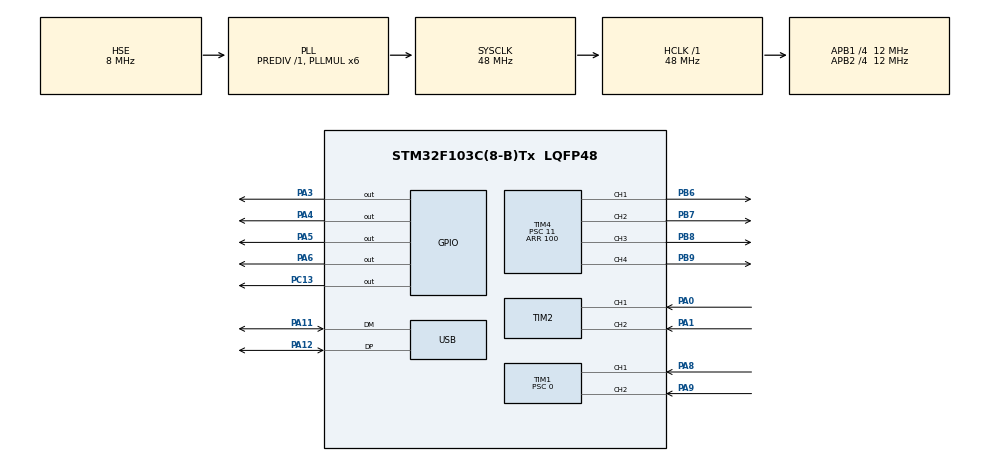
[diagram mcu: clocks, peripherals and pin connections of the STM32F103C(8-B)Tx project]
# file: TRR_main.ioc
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Mcu.Family=STM32F1
Mcu.Name=STM32F103C(8-B)Tx
Mcu.Package=LQFP48
NVIC.PriorityGroup=NVIC_PRIORITYGROUP_4
NVIC.TIM3_IRQn=true\:0\:0\:true\:false\:true\:true\:true\:true
NVIC.USB_LP_CAN1_RX0_IRQn=true\:0\:0\:false\:false\:true\:false\:true\:true
PA0-WKUP.Signal=S_TIM2_CH1_ETR
PA1.Signal=S_TIM2_CH2
PA11.Mode=Device
PA11.Signal=USB_DM
PA12.Mode=Device
PA12.Signal=USB_DP
PA13.Mode=Serial_Wire
PA13.Signal=SYS_JTMS-SWDIO
PA14.Mode=Serial_Wire
PA14.Signal=SYS_JTCK-SWCLK
PA3.Signal=GPIO_Output
PA4.Signal=GPIO_Output
PA5.Signal=GPIO_Output
PA6.Signal=GPIO_Output
PA8.GPIO_PuPd=GPIO_PULLUP
PA8.Signal=S_TIM1_CH1
PA9.GPIO_PuPd=GPIO_PULLUP
PA9.Signal=S_TIM1_CH2
PB6.Signal=S_TIM4_CH1
PB7.Signal=S_TIM4_CH2
PB8.Signal=S_TIM4_CH3
PB9.Signal=S_TIM4_CH4
PC13-TAMPER-RTC.Signal=GPIO_Output
PD0-OSC_IN.Mode=HSE-External-Oscillator
PD0-OSC_IN.Signal=RCC_OSC_IN
PD1-OSC_OUT.Mode=HSE-External-Oscillator
PD1-OSC_OUT.Signal=RCC_OSC_OUT
ProjectManager.HeapSize=0x200
ProjectManager.StackSize=0x400
ProjectManager.TargetToolchain=MDK-ARM V5.32
RCC.AHBFreq_Value=48000000
RCC.APB1CLKDivider=RCC_HCLK_DIV4
RCC.APB1Freq_Value=12000000
RCC.APB1TimFreq_Value=24000000
RCC.APB2CLKDivider=RCC_HCLK_DIV4
RCC.APB2Freq_Value=12000000
RCC.APB2TimFreq_Value=24000000
RCC.HCLKFreq_Value=48000000
RCC.PLLMUL=RCC_PLL_MUL6
RCC.SYSCLKFreq_VALUE=48000000
RCC.SYSCLKSource=RCC_SYSCLKSOURCE_PLLCLK
RCC.USBFreq_Value=48000000
SH.S_TIM1_CH1.0=TIM1_CH1,Encoder_Interface
SH.S_TIM1_CH2.0=TIM1_CH2,Encoder_Interface
SH.S_TIM2_CH1_ETR.0=TIM2_CH1,Encoder_Interface
SH.S_TIM2_CH2.0=TIM2_CH2,Encoder_Interface
SH.S_TIM4_CH1.0=TIM4_CH1,PWM Generation1 CH1
SH.S_TIM4_CH2.0=TIM4_CH2,PWM Generation2 CH2
SH.S_TIM4_CH3.0=TIM4_CH3,PWM Generation3 CH3
SH.S_TIM4_CH4.0=TIM4_CH4,PWM Generation4 CH4
TIM1.EncoderMode=TIM_ENCODERMODE_TI12
TIM1.Period=65535
TIM1.Prescaler=0
TIM2.EncoderMode=TIM_ENCODERMODE_TI12
TIM3.Period=4
TIM3.Prescaler=23999
TIM4.Channel-PWM\ Generation1\ CH1=TIM_CHANNEL_1
TIM4.Channel-PWM\ Generation2\ CH2=TIM_CHANNEL_2
TIM4.Channel-PWM\ Generation3\ CH3=TIM_CHANNEL_3
TIM4.Channel-PWM\ Generation4\ CH4=TIM_CHANNEL_4
TIM4.Period=100
TIM4.Prescaler=11
USB_DEVICE.CLASS_NAME_FS=CDC
USB_DEVICE.VirtualMode=Cdc
USB_DEVICE.VirtualModeFS=Cdc_FS
VP_TIM3_VS_ClockSourceINT.Mode=Internal
VP_USB_DEVICE_VS_USB_DEVICE_CDC_FS.Mode=CDC_FS
board=custom

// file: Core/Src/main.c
/* USER CODE BEGIN Header */
/**
  ******************************************************************************
  * @file           : main.c
  * @brief          : Main program body
  ******************************************************************************
  * @attention
  *
  * Copyright (c) 2023 STMicroelectronics.
  * All rights reserved.
  *
  * This software is licensed under terms that can be found in the LICENSE file
  * in the root directory of this software component.
  * If no LICENSE file comes with this software, it is provided AS-IS.
  *
  ******************************************************************************
  */

	/* 	Author: Chi */
	/* 	Right motor:
				ChannelA 	- PA0
				ChannelB 	- PA1
				R_EN			- PA5
				L_EN			- PA6
				R_PWM			-	PB9
				L_PWM			- PB8
			Right motor:
				ChannelA 	- PA8
				ChannelB 	- PA9
				R_EN			- PA4
				L_EN			- PA3
				R_PWM			-	PB6
				L_PWM			- PB7
	*/

/* USER CODE END Header */
#include "main.h"
#include "usb_device.h"

/* USER CODE BEGIN Includes */
#include "usbd_cdc_if.h"
/* USER CODE END Includes */

/* USER CODE BEGIN PD */
#define UPDATE_PERIOD			0.005		/* Chu ki cap nhat: 5ms = ngat timer 4 */
#define PULSES_IN_ROUND		249.6		/* So xung tren 1 vong cua dong co = 13 xung x ti so truyen 19.2 */
/* USER CODE END PD */

TIM_HandleTypeDef htim1;
TIM_HandleTypeDef htim2;
TIM_HandleTypeDef htim3;
TIM_HandleTypeDef htim4;

/* USER CODE BEGIN PV */

/* Parameter of USB USB receive */
uint8_t 	buffer[64];
uint8_t		RunSystem 				= 0;						/* ON/OFF all system */
int16_t		DesiredRightSpeed  	= 0;					/* Van toc mong muon banh trai (rpm) */
int16_t		DesiredLeftSpeed 	= 0;						/* Van toc mong muon banh phai (rpm) */
float			DesiredRightVel  	= 0;						/* Van toc mong muon banh trai (rad/s) */
float			DesiredLeftVel  	= 0;						/* Van toc mong muon banh phai (rad/s) */
uint8_t		EnablePickup 			= 0;						/* ON/OFF pickup system */

int16_t pwmL;
int16_t pwmR;

/* Parameter of PIController */
float 		Kp 							= 1.609746269;				/* Ti le */
float 		Ki 							= 29.85074627;				/* Tich phan */
float 		Kd 							= 0.0;								/* Vi phan */
float			Kb 							= 18.54375863;				/* Dung cho Anti-windup */

int32_t 	UHiLim 					= 100;								/* Gioi han tren pwm */
int32_t 	ULoLim 					= -100;									/* Gioi han duoi pwm */

/* Parameter of HAL_TIM_PeriodElapsedCallback */
int16_t 	VelCntL     		= 0;			/* Bien dem encoder => tinh van toc */
float 		CurrVelL 				= 0;	 		/* Van toc hien tai (Rad/s) */
int16_t 	CurrSpeedL	 			= 0;	 		/* Van toc hien tai (RPM) */

int16_t 	VelCntR      		= 0;			/* Bien dem encoder => tinh van toc */
float 		CurrVelR 				= 0;	 		/* Van toc hien tai (Rad/s) */
int16_t 	CurrSpeedR	 			= 0;	 		/* Van toc hien tai (RPM) */

uint16_t 	tick						= 0;			/* Dung de dem cho timer 5 */

/* USER CODE END PV */

void SystemClock_Config(void);
static void MX_GPIO_Init(void);
static void MX_TIM1_Init(void);
static void MX_TIM2_Init(void);
static void MX_TIM3_Init(void);
static void MX_TIM4_Init(void);

/* USER CODE BEGIN 0 */

/* ======================================================================================= USB printf ======================================================================================= */
struct __FILE
{
  int handle;
  /* Whatever you require here. If the only file you are using is */
  /* standard output using printf() for debugging, no file handling */
  /* is required. */
};
/* FILE is typedef'd in stdio.h. */
FILE __stdout;
int fputc(int ch, FILE *f)
{
    while(!(CDC_Transmit_FS((uint8_t*)&ch, 1) == USBD_OK))
        ;
    return ch;
}
/* ======================================================================================= End USB printf ======================================================================================= */

/* ================================================================================ PI Controller +(Anti-windup) ================================================================================ */
int32_t PIControllerL(float desired_val, float real_val, float gain, float Ki, float Kb, int uHiLim, int uLoLim)
{
		/* Controller values */
		static float err_reset;
		static float uI_p;
		float err, uP, uI;
		int uOut;

		/* Algorithm */
		err = (desired_val - real_val);
			/* Proportional */
		uP = gain * err;
			/* Integral (with Anti-windup) */
		uI = uI_p + (Ki * UPDATE_PERIOD *err) + Kb * UPDATE_PERIOD * err_reset;
			/* Integral part */
		uI_p = uI;
			/* Output control */
		uOut = (int)(uP + uI);
			/* Output saturation */
		if(uOut >= uHiLim)
		{
			err_reset = uHiLim - uOut;
			uOut = uHiLim;
		}
		else if(uOut <= uLoLim)
		{
			err_reset = uLoLim - uOut;
			uOut = uLoLim;
		}
		return uOut;
}

int32_t PIControllerR(float desired_val, float real_val, float gain, float Ki, float Kb, int uHiLim, int uLoLim)
{
		/* Controller values */
		static float err_reset;
		static float uI_p;
		float err, uP, uI;
		int uOut;

		/* Algorithm */
		err = (desired_val - real_val);
			/* Proportional */
		uP = gain * err;
			/* Integral (with Anti-windup) */
		uI = uI_p + (Ki * UPDATE_PERIOD *err) + Kb * UPDATE_PERIOD * err_reset;
			/* Integral part */
		uI_p = uI;
			/* Output control */
		uOut = (int)(uP + uI);
			/* Output saturation */
		if(uOut >= uHiLim)
		{
			err_reset = uHiLim - uOut;
			uOut = uHiLim;
		}
		else if(uOut <= uLoLim)
		{
			err_reset = uLoLim - uOut;
			uOut = uLoLim;
		}
		return uOut;
}
/* ============================================================================== End PI Controller +(Anti-windup) ============================================================================== */

/* ================================================================================ Motor Control ================================================================================ */
void MotorLeftRot(int32_t pwmSet)
{
	HAL_GPIO_WritePin(GPIOA, GPIO_PIN_3, 1);
	HAL_GPIO_WritePin(GPIOA, GPIO_PIN_4, 1);
	if (pwmSet > 0) {
		__HAL_TIM_SetCompare(&htim4, TIM_CHANNEL_1, pwmSet);
		__HAL_TIM_SetCompare(&htim4, TIM_CHANNEL_2, 0);
	}
	else if (pwmSet < 0) {
		__HAL_TIM_SetCompare(&htim4, TIM_CHANNEL_1,0);
		__HAL_TIM_SetCompare(&htim4, TIM_CHANNEL_2, -pwmSet);
	}
	else{
		HAL_GPIO_WritePin(GPIOA, GPIO_PIN_3, 0);
		HAL_GPIO_WritePin(GPIOA, GPIO_PIN_4, 0);
	}
}
void MotorRightRot(int32_t pwmSet)
{
	HAL_GPIO_WritePin(GPIOA, GPIO_PIN_5, 1);
	HAL_GPIO_WritePin(GPIOA, GPIO_PIN_6, 1);
	if (pwmSet > 0) {
		__HAL_TIM_SetCompare(&htim4, TIM_CHANNEL_3, pwmSet);
		__HAL_TIM_SetCompare(&htim4, TIM_CHANNEL_4, 0);
	}
	else if (pwmSet < 0) {
		__HAL_TIM_SetCompare(&htim4, TIM_CHANNEL_3,0);
		__HAL_TIM_SetCompare(&htim4, TIM_CHANNEL_4, -pwmSet);
	}
	else{
		HAL_GPIO_WritePin(GPIOA, GPIO_PIN_5, 0);
		HAL_GPIO_WritePin(GPIOA, GPIO_PIN_6, 0);
	}
}
/* ============================================================================== End Motor Control ============================================================================== */

/* USER CODE END 0 */

int main(void)
{

  /* MCU Configuration--------------------------------------------------------*/

  /* Reset of all peripherals, Initializes the Flash interface and the Systick. */
	HAL_Init();

  /* Configure the system clock */
  SystemClock_Config();

  /* Initialize all configured peripherals */
  MX_GPIO_Init();
  MX_TIM1_Init();
  MX_TIM2_Init();
  MX_TIM3_Init();
  MX_TIM4_Init();
  MX_USB_DEVICE_Init();
  /* USER CODE BEGIN 2 */
	HAL_TIM_PWM_Start(&htim4, TIM_CHANNEL_1);	// start  timer 1
	HAL_TIM_PWM_Start(&htim4, TIM_CHANNEL_2);	// start 	timer 1
	HAL_TIM_PWM_Start(&htim4, TIM_CHANNEL_3);	// start  timer 1
	HAL_TIM_PWM_Start(&htim4, TIM_CHANNEL_4);	// start 	timer 1
	HAL_TIM_Base_Start_IT(&htim3);						// start  timer 3
	HAL_TIM_Encoder_Start(&htim1, TIM_CHANNEL_ALL); // start encode mode
	HAL_TIM_Encoder_Start(&htim2, TIM_CHANNEL_ALL); // start encode mode
  /* USER CODE END 2 */

  /* Infinite loop */
  while (1)
  {

  }
}

void SystemClock_Config(void)
{
  RCC_OscInitTypeDef RCC_OscInitStruct = {0};
  RCC_ClkInitTypeDef RCC_ClkInitStruct = {0};
  RCC_PeriphCLKInitTypeDef PeriphClkInit = {0};

  /** Initializes the RCC Oscillators according to the specified parameters
  * in the RCC_OscInitTypeDef structure.
  */
  RCC_OscInitStruct.OscillatorType = RCC_OSCILLATORTYPE_HSE;
  RCC_OscInitStruct.HSEState = RCC_HSE_ON;
  RCC_OscInitStruct.HSEPredivValue = RCC_HSE_PREDIV_DIV1;
  RCC_OscInitStruct.HSIState = RCC_HSI_ON;
  RCC_OscInitStruct.PLL.PLLState = RCC_PLL_ON;
  RCC_OscInitStruct.PLL.PLLSource = RCC_PLLSOURCE_HSE;
  RCC_OscInitStruct.PLL.PLLMUL = RCC_PLL_MUL6;
  if (HAL_RCC_OscConfig(&RCC_OscInitStruct) != HAL_OK)
  {
    Error_Handler();
  }

  /** Initializes the CPU, AHB and APB buses clocks
  */
  RCC_ClkInitStruct.ClockType = RCC_CLOCKTYPE_HCLK|RCC_CLOCKTYPE_SYSCLK
                              |RCC_CLOCKTYPE_PCLK1|RCC_CLOCKTYPE_PCLK2;
  RCC_ClkInitStruct.SYSCLKSource = RCC_SYSCLKSOURCE_PLLCLK;
  RCC_ClkInitStruct.AHBCLKDivider = RCC_SYSCLK_DIV1;
  RCC_ClkInitStruct.APB1CLKDivider = RCC_HCLK_DIV4;
  RCC_ClkInitStruct.APB2CLKDivider = RCC_HCLK_DIV4;

  if (HAL_RCC_ClockConfig(&RCC_ClkInitStruct, FLASH_LATENCY_1) != HAL_OK)
  {
    Error_Handler();
  }
  PeriphClkInit.PeriphClockSelection = RCC_PERIPHCLK_USB;
  PeriphClkInit.UsbClockSelection = RCC_USBCLKSOURCE_PLL;
  if (HAL_RCCEx_PeriphCLKConfig(&PeriphClkInit) != HAL_OK)
  {
    Error_Handler();
  }
}

static void MX_TIM1_Init(void)
{

  TIM_Encoder_InitTypeDef sConfig = {0};
  TIM_MasterConfigTypeDef sMasterConfig = {0};

  htim1.Instance = TIM1;
  htim1.Init.Prescaler = 0;
  htim1.Init.CounterMode = TIM_COUNTERMODE_UP;
  htim1.Init.Period = 65535;
  htim1.Init.ClockDivision = TIM_CLOCKDIVISION_DIV1;
  htim1.Init.RepetitionCounter = 0;
  htim1.Init.AutoReloadPreload = TIM_AUTORELOAD_PRELOAD_DISABLE;
  sConfig.EncoderMode = TIM_ENCODERMODE_TI12;
  sConfig.IC1Polarity = TIM_ICPOLARITY_RISING;
  sConfig.IC1Selection = TIM_ICSELECTION_DIRECTTI;
  sConfig.IC1Prescaler = TIM_ICPSC_DIV1;
  sConfig.IC1Filter = 0;
  sConfig.IC2Polarity = TIM_ICPOLARITY_RISING;
  sConfig.IC2Selection = TIM_ICSELECTION_DIRECTTI;
  sConfig.IC2Prescaler = TIM_ICPSC_DIV1;
  sConfig.IC2Filter = 0;
  if (HAL_TIM_Encoder_Init(&htim1, &sConfig) != HAL_OK)
  {
    Error_Handler();
  }
  sMasterConfig.MasterOutputTrigger = TIM_TRGO_RESET;
  sMasterConfig.MasterSlaveMode = TIM_MASTERSLAVEMODE_DISABLE;
  if (HAL_TIMEx_MasterConfigSynchronization(&htim1, &sMasterConfig) != HAL_OK)
  {
    Error_Handler();
  }

}

static void MX_TIM2_Init(void)
{

  TIM_Encoder_InitTypeDef sConfig = {0};
  TIM_MasterConfigTypeDef sMasterConfig = {0};

  htim2.Instance = TIM2;
  htim2.Init.Prescaler = 0;
  htim2.Init.CounterMode = TIM_COUNTERMODE_UP;
  htim2.Init.Period = 65535;
  htim2.Init.ClockDivision = TIM_CLOCKDIVISION_DIV1;
  htim2.Init.AutoReloadPreload = TIM_AUTORELOAD_PRELOAD_DISABLE;
  sConfig.EncoderMode = TIM_ENCODERMODE_TI12;
  sConfig.IC1Polarity = TIM_ICPOLARITY_RISING;
  sConfig.IC1Selection = TIM_ICSELECTION_DIRECTTI;
  sConfig.IC1Prescaler = TIM_ICPSC_DIV1;
  sConfig.IC1Filter = 0;
  sConfig.IC2Polarity = TIM_ICPOLARITY_RISING;
  sConfig.IC2Selection = TIM_ICSELECTION_DIRECTTI;
  sConfig.IC2Prescaler = TIM_ICPSC_DIV1;
  sConfig.IC2Filter = 0;
  if (HAL_TIM_Encoder_Init(&htim2, &sConfig) != HAL_OK)
  {
    Error_Handler();
  }
  sMasterConfig.MasterOutputTrigger = TIM_TRGO_RESET;
  sMasterConfig.MasterSlaveMode = TIM_MASTERSLAVEMODE_DISABLE;
  if (HAL_TIMEx_MasterConfigSynchronization(&htim2, &sMasterConfig) != HAL_OK)
  {
    Error_Handler();
  }

}

static void MX_TIM3_Init(void)
{

  TIM_ClockConfigTypeDef sClockSourceConfig = {0};
  TIM_MasterConfigTypeDef sMasterConfig = {0};

  htim3.Instance = TIM3;
  htim3.Init.Prescaler = 23999;
  htim3.Init.CounterMode = TIM_COUNTERMODE_UP;
  htim3.Init.Period = 4;
  htim3.Init.ClockDivision = TIM_CLOCKDIVISION_DIV1;
  htim3.Init.AutoReloadPreload = TIM_AUTORELOAD_PRELOAD_DISABLE;
  if (HAL_TIM_Base_Init(&htim3) != HAL_OK)
  {
    Error_Handler();
  }
  sClockSourceConfig.ClockSource = TIM_CLOCKSOURCE_INTERNAL;
  if (HAL_TIM_ConfigClockSource(&htim3, &sClockSourceConfig) != HAL_OK)
  {
    Error_Handler();
  }
  sMasterConfig.MasterOutputTrigger = TIM_TRGO_RESET;
  sMasterConfig.MasterSlaveMode = TIM_MASTERSLAVEMODE_DISABLE;
  if (HAL_TIMEx_MasterConfigSynchronization(&htim3, &sMasterConfig) != HAL_OK)
  {
    Error_Handler();
  }

}

static void MX_TIM4_Init(void)
{

  TIM_MasterConfigTypeDef sMasterConfig = {0};
  TIM_OC_InitTypeDef sConfigOC = {0};

  htim4.Instance = TIM4;
  htim4.Init.Prescaler = 11;
  htim4.Init.CounterMode = TIM_COUNTERMODE_UP;
  htim4.Init.Period = 100;
  htim4.Init.ClockDivision = TIM_CLOCKDIVISION_DIV1;
  htim4.Init.AutoReloadPreload = TIM_AUTORELOAD_PRELOAD_DISABLE;
  if (HAL_TIM_PWM_Init(&htim4) != HAL_OK)
  {
    Error_Handler();
  }
  sMasterConfig.MasterOutputTrigger = TIM_TRGO_RESET;
  sMasterConfig.MasterSlaveMode = TIM_MASTERSLAVEMODE_DISABLE;
  if (HAL_TIMEx_MasterConfigSynchronization(&htim4, &sMasterConfig) != HAL_OK)
  {
    Error_Handler();
  }
  sConfigOC.OCMode = TIM_OCMODE_PWM1;
  sConfigOC.Pulse = 0;
  sConfigOC.OCPolarity = TIM_OCPOLARITY_HIGH;
  sConfigOC.OCFastMode = TIM_OCFAST_DISABLE;
  if (HAL_TIM_PWM_ConfigChannel(&htim4, &sConfigOC, TIM_CHANNEL_1) != HAL_OK)
  {
    Error_Handler();
  }
  if (HAL_TIM_PWM_ConfigChannel(&htim4, &sConfigOC, TIM_CHANNEL_2) != HAL_OK)
  {
    Error_Handler();
  }
  if (HAL_TIM_PWM_ConfigChannel(&htim4, &sConfigOC, TIM_CHANNEL_3) != HAL_OK)
  {
    Error_Handler();
  }
  if (HAL_TIM_PWM_ConfigChannel(&htim4, &sConfigOC, TIM_CHANNEL_4) != HAL_OK)
  {
    Error_Handler();
  }
  HAL_TIM_MspPostInit(&htim4);

}

static void MX_GPIO_Init(void)
{
  GPIO_InitTypeDef GPIO_InitStruct = {0};

  /* GPIO Ports Clock Enable */
  __HAL_RCC_GPIOC_CLK_ENABLE();
  __HAL_RCC_GPIOD_CLK_ENABLE();
  __HAL_RCC_GPIOA_CLK_ENABLE();
  __HAL_RCC_GPIOB_CLK_ENABLE();

  /*Configure GPIO pin Output Level */
  HAL_GPIO_WritePin(GPIOC, GPIO_PIN_13, GPIO_PIN_RESET);

  /*Configure GPIO pin Output Level */
  HAL_GPIO_WritePin(GPIOA, GPIO_PIN_3|GPIO_PIN_4|GPIO_PIN_5|GPIO_PIN_6, GPIO_PIN_RESET);

  /*Configure GPIO pin : PC13 */
  GPIO_InitStruct.Pin = GPIO_PIN_13;
  GPIO_InitStruct.Mode = GPIO_MODE_OUTPUT_PP;
  GPIO_InitStruct.Pull = GPIO_NOPULL;
  GPIO_InitStruct.Speed = GPIO_SPEED_FREQ_LOW;
  HAL_GPIO_Init(GPIOC, &GPIO_InitStruct);

  /*Configure GPIO pins : PA3 PA4 PA5 PA6 */
  GPIO_InitStruct.Pin = GPIO_PIN_3|GPIO_PIN_4|GPIO_PIN_5|GPIO_PIN_6;
  GPIO_InitStruct.Mode = GPIO_MODE_OUTPUT_PP;
  GPIO_InitStruct.Pull = GPIO_NOPULL;
  GPIO_InitStruct.Speed = GPIO_SPEED_FREQ_LOW;
  HAL_GPIO_Init(GPIOA, &GPIO_InitStruct);

}

/* USER CODE BEGIN 4 */

/* ====================================================================== Timer Interrupt ====================================================================== */
void HAL_TIM_PeriodElapsedCallback(TIM_HandleTypeDef *htim) {

	if(htim->Instance==TIM3)																												/* Ngat timer 3: 5ms */
	{
		DesiredLeftVel = DesiredLeftSpeed*2*3.1415/60;																/* rad/s */
		DesiredRightVel = DesiredRightSpeed*2*3.1415/60;															/* rad/s */

		if (RunSystem ==1) {
			VelCntL			=__HAL_TIM_GET_COUNTER(&htim1);																		/* Lay gia tri count velocity */
			__HAL_TIM_SET_COUNTER(&htim1, 0);                                 						/* Reset cnt */
			CurrSpeedL 	= 60*VelCntL/(4*PULSES_IN_ROUND*UPDATE_PERIOD);										/* RPM */
			CurrVelL 		= 2*3.1415*VelCntL/(4*PULSES_IN_ROUND*UPDATE_PERIOD);							/* rad/s */
			pwmL = PIControllerL(DesiredLeftVel, CurrVelL, Kp, Ki, Kb, UHiLim, ULoLim);		/* caculate pwm */
			MotorLeftRot(pwmL);																														/* Control left motor */

			VelCntR			=__HAL_TIM_GET_COUNTER(&htim2);																		/* Lay gia tri count velocity */
			__HAL_TIM_SET_COUNTER(&htim2, 0);                                 						/* Reset cnt */
			CurrSpeedR 	= 60*VelCntR/(4*PULSES_IN_ROUND*UPDATE_PERIOD);										/* RPM */
			CurrVelR 		= 2*3.1415*VelCntR/(4*PULSES_IN_ROUND*UPDATE_PERIOD);							/* rad/s */
			pwmR = PIControllerR(DesiredRightVel, CurrVelR, Kp, Ki, Kb, UHiLim, ULoLim);	/* caculate pwm */
			MotorRightRot(pwmR);																													/* Control right motor */
		}
		else {
			__HAL_TIM_SET_COUNTER(&htim1, 0);
			__HAL_TIM_SET_COUNTER(&htim2, 0);
			pwmL = 0;
			pwmR = 0;
			MotorLeftRot(pwmL);																														/* Control left motor */
			MotorRightRot(pwmR);																														/* Control right motor */
		}

		return;
	}
}
/* ====================================================================== End Timer Interrupt ====================================================================== */

/* USER CODE END 4 */

void Error_Handler(void)
{
  __disable_irq();
  while (1)
  {
  }
}
